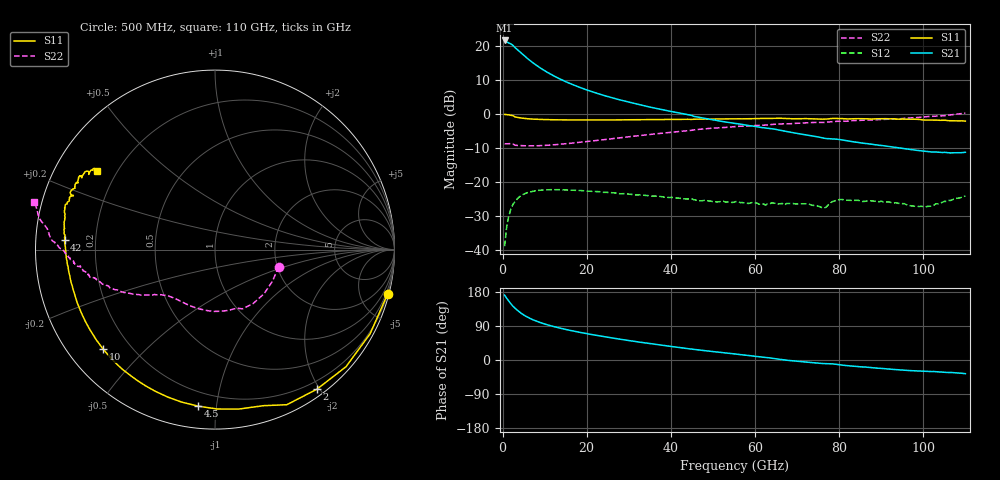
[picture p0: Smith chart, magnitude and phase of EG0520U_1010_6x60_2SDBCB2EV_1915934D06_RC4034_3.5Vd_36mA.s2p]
!File name = EG0520U_1010_6x60_2SDBCB2EV_1915934D06_RC4034_3.5Vd_36mA.s2p
!Base file name = EG0520U_1010_6x60_2SDBCB2EV_1915934D06_RC4034
!Date = 8/23/2019
!Time = 12:58 PM
!Test duration(min) = 0.15
!Test = S-Parameters
!MPTS version = 8.91.5
!State File = C:\Data\PNA\20190821205423\S-Parameters_2019-08-23.sta
!Cal File =
!ComputerName = CMPE-LAB-6
!Comments =
!Attenuation = 0
!Z0 = 50
!Input Power(dBm) = -13.00
!Device ID = EG0520U_1010_6x60_2SDBCB2EV
!Row = 40
!Column = 34
!Technology = QPHT09
!Lot/Wafer = 1915934D06
!Gate Size = 360
!Mask = EG0520
!Cal Standards = GaAs BCB
!Cal Kit = EG2306
!Job Number = 20190821205423
!Device Type = FET
!set_Vg(v) = -1.500
!set_Vd(v) = 3.500
!set_Vd(mA) = 36.000
!file_name = EG0520U_1010_6x60_2SDBCB2EV_1915934D06_RC4034_3.5Vd_36mA.s2p
!Vd(V) = 3.500
!Vd(mA) = 36.122
!Vg(V) = -0.538
!Vg(mA) = -0.003
# GHz  S  DB  R  50
!%	Freq(GHz)  s11(dB)  s11(deg)  s21(dB)  s21(deg)  s12(dB)  s12(deg)  s22(dB)  s22(deg)
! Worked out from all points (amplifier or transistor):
!   220 points, 500 MHz to 110 GHz, reference 50 ohm
!   highest |S21| = 21.7 dB at 500 MHz (marker M1)
!   |S21| within 3 dB of that: start of sweep to 3.79 GHz
!   unconditionally stable (mu >= 1): 33.11 GHz to 102.2 GHz
!   at 18.5 GHz: K = 0.54, MSG = 15.2 dB, |S12| = -22.5 dB
!   at 55.5 GHz: K = 1.52, MAG = 7.2 dB, |S12| = -25.7 dB
!   at 110 GHz: K = -1.71, MSG = 6.4 dB, |S12| = -24.1 dB
!   S11 on the Smith chart (normalised r, x): 500 MHz: 0.22, -7.91; 2 GHz: 0.09, -1.96; 4.5 GHz: 0.12, -0.89; 10 GHz: 0.10, -0.38; 42 GHz: 0.09, +0.03; 110 GHz: 0.13, +0.30
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0.5  -0.06 -14.4  21.73 171.2  -38.89 81.1  -8.72 -15.0
1  -0.15 -28.5  21.32 162.8  -33.11 73.8  -8.74 -28.7
2  -0.33 -53.9  20.71 148.1  -27.93 59.8  -8.68 -54.7
2.5  -0.42 -65.2  20.28 141.7  -26.54 54.0  -8.78 -65.1
3  -0.81 -72.8  19.60 136.6  -25.72 49.6  -9.15 -69.4
3.5  -0.93 -81.5  19.05 131.5  -24.95 45.2  -9.20 -77.4
4.5  -1.14 -96.2  17.94 122.8  -23.93 37.8  -9.26 -90.7
5.5  -1.28 -107.9  16.87 115.8  -23.32 32.0  -9.33 -100.9
7  -1.44 -121.2  15.37 107.3  -22.77 25.4  -9.32 -112.0
8.5  -1.51 -130.8  14.03 100.7  -22.46 20.6  -9.29 -119.1
10  -1.58 -138.4  12.83 95.1  -22.31 16.6  -9.20 -124.6
11.5  -1.63 -144.5  11.75 90.2  -22.25 13.5  -9.09 -128.8
13.5  -1.66 -150.9  10.47 84.5  -22.25 10.1  -8.88 -132.9
19  -1.71 -162.6  7.60 71.7  -22.52 4.0  -8.19 -139.6
26.5  -1.68 -172.2  4.68 57.4  -23.17 -0.1  -7.14 -145.0
37  -1.58 179.5  1.59 40.3  -24.15 -1.1  -5.72 -151.4
42  -1.51 176.4  0.34 32.9  -24.73 -1.5  -5.11 -154.5
55.5  -1.37 168.6  -2.76 15.6  -25.74 1.8  -3.65 -163.1
73.5  -1.36 159.6  -6.39 -6.9  -26.81 0.2  -2.43 -172.0
92  -1.37 151.4  -9.55 -24.0  -25.91 -11.5  -1.46 -179.7
100.5  -1.71 148.9  -10.96 -29.9  -27.29 -9.4  -0.78 176.1
110  -2.04 146.2  -11.22 -36.1  -24.09 -10.2  0.34 165.4
